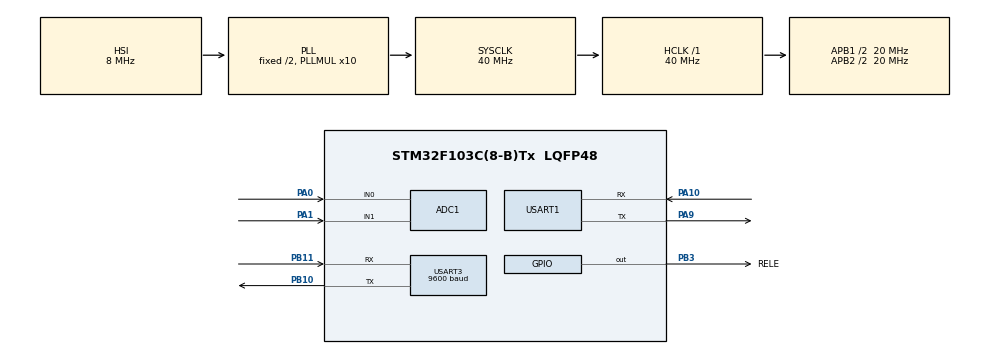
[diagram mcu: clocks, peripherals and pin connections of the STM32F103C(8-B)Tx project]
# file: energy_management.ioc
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ADC1.Channel-0\#ChannelRegularConversion=ADC_CHANNEL_0
ADC1.Channel-1\#ChannelRegularConversion=ADC_CHANNEL_1
ADC1.ContinuousConvMode=ENABLE
ADC1.NbrOfConversion=2
ADC1.NbrOfConversionFlag=1
ADC1.Rank-0\#ChannelRegularConversion=1
ADC1.Rank-1\#ChannelRegularConversion=2
ADC1.SamplingTime-0\#ChannelRegularConversion=ADC_SAMPLETIME_239CYCLES_5
ADC1.SamplingTime-1\#ChannelRegularConversion=ADC_SAMPLETIME_239CYCLES_5
ADC1.master=1
Dma.ADC1.0.Direction=DMA_PERIPH_TO_MEMORY
Dma.ADC1.0.Instance=DMA1_Channel1
Dma.ADC1.0.MemDataAlignment=DMA_MDATAALIGN_HALFWORD
Dma.ADC1.0.MemInc=DMA_MINC_ENABLE
Dma.ADC1.0.Mode=DMA_NORMAL
Dma.ADC1.0.PeriphDataAlignment=DMA_PDATAALIGN_HALFWORD
Dma.ADC1.0.PeriphInc=DMA_PINC_DISABLE
Dma.ADC1.0.Priority=DMA_PRIORITY_VERY_HIGH
Dma.Request0=ADC1
Dma.Request1=USART1_TX
Dma.Request2=USART3_RX
Dma.Request3=USART3_TX
Dma.USART1_TX.1.Direction=DMA_MEMORY_TO_PERIPH
Dma.USART1_TX.1.Instance=DMA1_Channel4
Dma.USART1_TX.1.MemDataAlignment=DMA_MDATAALIGN_BYTE
Dma.USART1_TX.1.MemInc=DMA_MINC_ENABLE
Dma.USART1_TX.1.Mode=DMA_NORMAL
Dma.USART1_TX.1.PeriphDataAlignment=DMA_PDATAALIGN_BYTE
Dma.USART1_TX.1.PeriphInc=DMA_PINC_DISABLE
Dma.USART1_TX.1.Priority=DMA_PRIORITY_LOW
Dma.USART3_RX.2.Direction=DMA_PERIPH_TO_MEMORY
Dma.USART3_RX.2.Instance=DMA1_Channel3
Dma.USART3_RX.2.MemDataAlignment=DMA_MDATAALIGN_BYTE
Dma.USART3_RX.2.MemInc=DMA_MINC_ENABLE
Dma.USART3_RX.2.Mode=DMA_CIRCULAR
Dma.USART3_RX.2.PeriphDataAlignment=DMA_PDATAALIGN_BYTE
Dma.USART3_RX.2.PeriphInc=DMA_PINC_DISABLE
Dma.USART3_RX.2.Priority=DMA_PRIORITY_VERY_HIGH
Dma.USART3_TX.3.Direction=DMA_MEMORY_TO_PERIPH
Dma.USART3_TX.3.Instance=DMA1_Channel2
Dma.USART3_TX.3.MemDataAlignment=DMA_MDATAALIGN_BYTE
Dma.USART3_TX.3.MemInc=DMA_MINC_ENABLE
Dma.USART3_TX.3.Mode=DMA_NORMAL
Dma.USART3_TX.3.PeriphDataAlignment=DMA_PDATAALIGN_BYTE
Dma.USART3_TX.3.PeriphInc=DMA_PINC_DISABLE
Dma.USART3_TX.3.Priority=DMA_PRIORITY_LOW
Mcu.Family=STM32F1
Mcu.Name=STM32F103C(8-B)Tx
Mcu.Package=LQFP48
NVIC.ADC1_2_IRQn=true\:0\:0\:false\:false\:true\:true\:true\:true
NVIC.DMA1_Channel1_IRQn=true\:0\:0\:false\:false\:true\:false\:true\:true
NVIC.DMA1_Channel2_IRQn=true\:0\:0\:false\:false\:true\:false\:true\:true
NVIC.DMA1_Channel3_IRQn=true\:0\:0\:false\:false\:true\:false\:true\:true
NVIC.DMA1_Channel4_IRQn=true\:0\:0\:false\:false\:true\:false\:true\:true
NVIC.PriorityGroup=NVIC_PRIORITYGROUP_4
NVIC.TIM4_IRQn=true\:0\:0\:false\:false\:true\:true\:true\:true
NVIC.USART1_IRQn=true\:0\:0\:false\:false\:true\:true\:true\:true
NVIC.USART3_IRQn=true\:0\:0\:false\:false\:true\:true\:true\:true
PA0-WKUP.Signal=ADCx_IN0
PA1.Signal=ADCx_IN1
PA10.Mode=Asynchronous
PA10.Signal=USART1_RX
PA13.Mode=Serial_Wire
PA13.Signal=SYS_JTMS-SWDIO
PA14.Mode=Serial_Wire
PA14.Signal=SYS_JTCK-SWCLK
PA9.Mode=Asynchronous
PA9.Signal=USART1_TX
PB10.Mode=Asynchronous
PB10.Signal=USART3_TX
PB11.Mode=Asynchronous
PB11.Signal=USART3_RX
PB3.GPIO_Label=RELE
PB3.Signal=GPIO_Output
PD0-OSC_IN.Mode=HSE-External-Oscillator
PD0-OSC_IN.Signal=RCC_OSC_IN
PD1-OSC_OUT.Mode=HSE-External-Oscillator
PD1-OSC_OUT.Signal=RCC_OSC_OUT
ProjectManager.HeapSize=0x200
ProjectManager.StackSize=0x400
ProjectManager.TargetToolchain=STM32CubeIDE
RCC.ADCPresc=RCC_ADCPCLK2_DIV8
RCC.AHBFreq_Value=40000000
RCC.APB1CLKDivider=RCC_HCLK_DIV2
RCC.APB1Freq_Value=20000000
RCC.APB1TimFreq_Value=40000000
RCC.APB2CLKDivider=RCC_HCLK_DIV2
RCC.APB2Freq_Value=20000000
RCC.APB2TimFreq_Value=40000000
RCC.HCLKFreq_Value=40000000
RCC.PLLMUL=RCC_PLL_MUL10
RCC.SYSCLKFreq_VALUE=40000000
RCC.SYSCLKSource=RCC_SYSCLKSOURCE_PLLCLK
RCC.USBFreq_Value=40000000
SH.ADCx_IN0.0=ADC1_IN0,IN0
SH.ADCx_IN1.0=ADC1_IN1,IN1
TIM4.Period=10000-1
TIM4.Prescaler=4000-1
USART1.VirtualMode=VM_ASYNC
USART3.BaudRate=9600
USART3.VirtualMode=VM_ASYNC
VP_TIM4_VS_ClockSourceINT.Mode=Internal
board=custom

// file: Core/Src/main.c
/* USER CODE BEGIN Header */
/**
  ******************************************************************************
  * @file           : main.c
  * @brief          : Main program body
  ******************************************************************************
  * @attention
  *
  * Copyright (c) 2025 STMicroelectronics.
  * All rights reserved.
  *
  * This software is licensed under terms that can be found in the LICENSE file
  * in the root directory of this software component.
  * If no LICENSE file comes with this software, it is provided AS-IS.
  *
  ******************************************************************************
  */
/* USER CODE END Header */
#include "main.h"
#include "adc.h"
#include "dma.h"
#include "tim.h"
#include "usart.h"
#include "gpio.h"

/* USER CODE BEGIN Includes */
#include <stdlib.h>
#include "energy_calculator.h"
#include "log_debug.h"
#include "data_processing.h"
#include "comms.h"
/* USER CODE END Includes */

/* USER CODE BEGIN PV */
typedef enum
{
	IDLE,
	READING,
	ADC_COMPLETE,
	PROCESSING,
	DATA_PROCESSING,
	SENDING,

}state_t;

uint8_t flag_adc_complete = 0;
uint8_t flag_time_out = 0;
/* USER CODE END PV */

void SystemClock_Config(void);

int main(void)
{

  /* USER CODE BEGIN 1 */
	uint16_t buffer[1024];

	energy_engine_t energy_engine={
			.hadc=&hadc1,
			.buffer=buffer,
			.size=512
	};
	adc_calibration_t adc_calibration;
	adc_data_t adc_data;

	COMMS_AT_Command_t command = AT_INIT;
	COMMS_State_t comms_state = COMMS_STATE_IDLE;
	state_t state = READING;
	uint32_t tickAnt = 0;
	float AT_data[6];
	uint16_t size = 6;
  /* USER CODE END 1 */

  /* MCU Configuration--------------------------------------------------------*/

  /* Reset of all peripherals, Initializes the Flash interface and the Systick. */
  HAL_Init();

  /* Configure the system clock */
  SystemClock_Config();

  /* Initialize all configured peripherals */
  MX_GPIO_Init();
  MX_DMA_Init();
  MX_ADC1_Init();
  MX_USART1_UART_Init();
  MX_TIM4_Init();
  MX_USART3_UART_Init();
  /* USER CODE BEGIN 2 */
  float ical = 10;
  float vcal = 538; //460
  init_energy_engine(&energy_engine);
  set_energy_calibration(&adc_calibration, ical, vcal, 1.6226, 1.66);
  COMMS_Init(&comms_state);
  /* USER CODE END 2 */

  /* Infinite loop */
  /* USER CODE BEGIN WHILE */
  tickAnt = HAL_GetTick();
  while (1)
  {
	switch(state)
	{
		case IDLE:
			if(flag_adc_complete == 1)
			{
				state = ADC_COMPLETE;
				flag_adc_complete = 0;
			}
			if(COMMS_Process(&command, &comms_state)== 1)
			{
				state = READING;
			}
			break;
		case READING:
			state_adc_reader(&energy_engine);
			state = IDLE;
			break;
		case ADC_COMPLETE:
			adc_buffer_separator(&adc_data, &adc_calibration, energy_engine.buffer, energy_engine.size);
			state = PROCESSING;
		case PROCESSING:
			if(flag_time_out == 1)
				state = DATA_PROCESSING;
			else
				state = READING;

			state_energy_calculator(&adc_data, &adc_calibration, energy_engine.size);
			break;
		case DATA_PROCESSING:
			data_processing(&adc_data, AT_data);

			state = SENDING;
			break;

		case SENDING:
			command = AT_SEND;
			COMMS_SendCommand(&command, AT_data, size);
			state = READING;
			break;

	}

	if(HAL_GetTick() - tickAnt > 5000)
	{
		tickAnt = HAL_GetTick();
		flag_time_out = 1;
	}
    /* USER CODE END WHILE */

  }
}

void SystemClock_Config(void)
{
  RCC_OscInitTypeDef RCC_OscInitStruct = {0};
  RCC_ClkInitTypeDef RCC_ClkInitStruct = {0};
  RCC_PeriphCLKInitTypeDef PeriphClkInit = {0};

  /** Initializes the RCC Oscillators according to the specified parameters
  * in the RCC_OscInitTypeDef structure.
  */
  RCC_OscInitStruct.OscillatorType = RCC_OSCILLATORTYPE_HSI;
  RCC_OscInitStruct.HSIState = RCC_HSI_ON;
  RCC_OscInitStruct.HSICalibrationValue = RCC_HSICALIBRATION_DEFAULT;
  RCC_OscInitStruct.PLL.PLLState = RCC_PLL_ON;
  RCC_OscInitStruct.PLL.PLLSource = RCC_PLLSOURCE_HSI_DIV2;
  RCC_OscInitStruct.PLL.PLLMUL = RCC_PLL_MUL10;
  if (HAL_RCC_OscConfig(&RCC_OscInitStruct) != HAL_OK)
  {
    Error_Handler();
  }

  /** Initializes the CPU, AHB and APB buses clocks
  */
  RCC_ClkInitStruct.ClockType = RCC_CLOCKTYPE_HCLK|RCC_CLOCKTYPE_SYSCLK
                              |RCC_CLOCKTYPE_PCLK1|RCC_CLOCKTYPE_PCLK2;
  RCC_ClkInitStruct.SYSCLKSource = RCC_SYSCLKSOURCE_PLLCLK;
  RCC_ClkInitStruct.AHBCLKDivider = RCC_SYSCLK_DIV1;
  RCC_ClkInitStruct.APB1CLKDivider = RCC_HCLK_DIV2;
  RCC_ClkInitStruct.APB2CLKDivider = RCC_HCLK_DIV2;

  if (HAL_RCC_ClockConfig(&RCC_ClkInitStruct, FLASH_LATENCY_1) != HAL_OK)
  {
    Error_Handler();
  }
  PeriphClkInit.PeriphClockSelection = RCC_PERIPHCLK_ADC;
  PeriphClkInit.AdcClockSelection = RCC_ADCPCLK2_DIV8;
  if (HAL_RCCEx_PeriphCLKConfig(&PeriphClkInit) != HAL_OK)
  {
    Error_Handler();
  }
}

void Error_Handler(void)
{
  __disable_irq();
  while (1)
  {
  }
}
